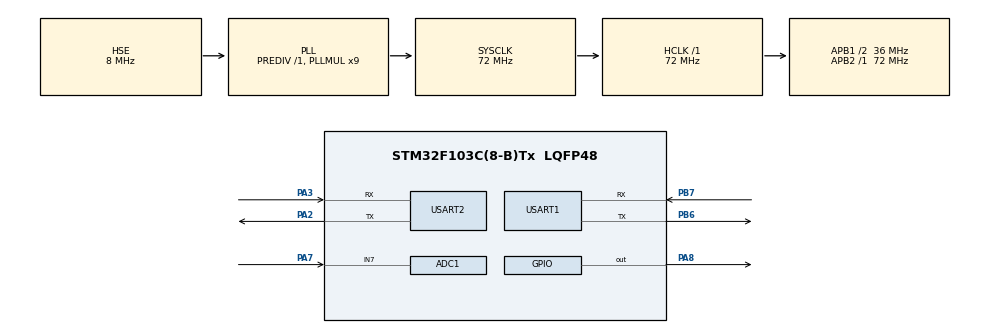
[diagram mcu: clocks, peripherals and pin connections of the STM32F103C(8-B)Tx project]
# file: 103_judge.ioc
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ADC1.Channel-0\#ChannelRegularConversion=ADC_CHANNEL_7
ADC1.NbrOfConversionFlag=1
ADC1.Rank-0\#ChannelRegularConversion=1
ADC1.SamplingTime-0\#ChannelRegularConversion=ADC_SAMPLETIME_1CYCLE_5
ADC1.master=1
Dma.Request0=USART1_RX
Dma.Request1=USART1_TX
Dma.Request2=USART2_RX
Dma.Request3=USART2_TX
Dma.USART1_RX.0.Direction=DMA_PERIPH_TO_MEMORY
Dma.USART1_RX.0.Instance=DMA1_Channel5
Dma.USART1_RX.0.MemDataAlignment=DMA_MDATAALIGN_BYTE
Dma.USART1_RX.0.MemInc=DMA_MINC_ENABLE
Dma.USART1_RX.0.Mode=DMA_NORMAL
Dma.USART1_RX.0.PeriphDataAlignment=DMA_PDATAALIGN_BYTE
Dma.USART1_RX.0.PeriphInc=DMA_PINC_DISABLE
Dma.USART1_RX.0.Priority=DMA_PRIORITY_MEDIUM
Dma.USART1_TX.1.Direction=DMA_MEMORY_TO_PERIPH
Dma.USART1_TX.1.Instance=DMA1_Channel4
Dma.USART1_TX.1.MemDataAlignment=DMA_MDATAALIGN_BYTE
Dma.USART1_TX.1.MemInc=DMA_MINC_ENABLE
Dma.USART1_TX.1.Mode=DMA_NORMAL
Dma.USART1_TX.1.PeriphDataAlignment=DMA_PDATAALIGN_BYTE
Dma.USART1_TX.1.PeriphInc=DMA_PINC_DISABLE
Dma.USART1_TX.1.Priority=DMA_PRIORITY_MEDIUM
Dma.USART2_RX.2.Direction=DMA_PERIPH_TO_MEMORY
Dma.USART2_RX.2.Instance=DMA1_Channel6
Dma.USART2_RX.2.MemDataAlignment=DMA_MDATAALIGN_BYTE
Dma.USART2_RX.2.MemInc=DMA_MINC_ENABLE
Dma.USART2_RX.2.Mode=DMA_NORMAL
Dma.USART2_RX.2.PeriphDataAlignment=DMA_PDATAALIGN_BYTE
Dma.USART2_RX.2.PeriphInc=DMA_PINC_DISABLE
Dma.USART2_RX.2.Priority=DMA_PRIORITY_LOW
Dma.USART2_TX.3.Direction=DMA_MEMORY_TO_PERIPH
Dma.USART2_TX.3.Instance=DMA1_Channel7
Dma.USART2_TX.3.MemDataAlignment=DMA_MDATAALIGN_BYTE
Dma.USART2_TX.3.MemInc=DMA_MINC_ENABLE
Dma.USART2_TX.3.Mode=DMA_NORMAL
Dma.USART2_TX.3.PeriphDataAlignment=DMA_PDATAALIGN_BYTE
Dma.USART2_TX.3.PeriphInc=DMA_PINC_DISABLE
Dma.USART2_TX.3.Priority=DMA_PRIORITY_LOW
Mcu.Family=STM32F1
Mcu.Name=STM32F103C(8-B)Tx
Mcu.Package=LQFP48
NVIC.DMA1_Channel4_IRQn=true\:0\:0\:false\:false\:true\:false
NVIC.DMA1_Channel5_IRQn=true\:0\:0\:false\:false\:true\:false
NVIC.DMA1_Channel6_IRQn=true\:0\:0\:false\:false\:true\:false
NVIC.DMA1_Channel7_IRQn=true\:0\:0\:false\:false\:true\:false
NVIC.PriorityGroup=NVIC_PRIORITYGROUP_4
NVIC.TIM2_IRQn=true\:0\:0\:false\:false\:true\:true
NVIC.USART1_IRQn=true\:0\:0\:false\:false\:true\:true
NVIC.USART2_IRQn=true\:0\:0\:false\:false\:true\:true
PA13.Mode=Serial_Wire
PA13.Signal=SYS_JTMS-SWDIO
PA14.Mode=Serial_Wire
PA14.Signal=SYS_JTCK-SWCLK
PA2.Mode=Asynchronous
PA2.Signal=USART2_TX
PA3.Mode=Asynchronous
PA3.Signal=USART2_RX
PA7.Signal=ADCx_IN7
PA8.GPIO_Speed=GPIO_SPEED_FREQ_HIGH
PA8.Signal=GPIO_Output
PB6.Mode=Asynchronous
PB6.Signal=USART1_TX
PB7.Mode=Asynchronous
PB7.Signal=USART1_RX
PD0-OSC_IN.Mode=HSE-External-Oscillator
PD0-OSC_IN.Signal=RCC_OSC_IN
PD1-OSC_OUT.Mode=HSE-External-Oscillator
PD1-OSC_OUT.Signal=RCC_OSC_OUT
ProjectManager.HeapSize=0x200
ProjectManager.StackSize=0x400
ProjectManager.TargetToolchain=MDK-ARM V5
RCC.AHBFreq_Value=72000000
RCC.APB1CLKDivider=RCC_HCLK_DIV2
RCC.APB1Freq_Value=36000000
RCC.APB1TimFreq_Value=72000000
RCC.APB2Freq_Value=72000000
RCC.APB2TimFreq_Value=72000000
RCC.HCLKFreq_Value=72000000
RCC.PLLMUL=RCC_PLL_MUL9
RCC.PLLSourceVirtual=RCC_PLLSOURCE_HSE
RCC.SYSCLKFreq_VALUE=72000000
RCC.SYSCLKSource=RCC_SYSCLKSOURCE_PLLCLK
RCC.USBFreq_Value=72000000
SH.ADCx_IN7.0=ADC1_IN7,IN7
TIM2.Period=1000-1
TIM2.Prescaler=7200-1
USART1.VirtualMode=VM_ASYNC
USART2.VirtualMode=VM_ASYNC
VP_TIM1_VS_ClockSourceINT.Mode=Internal
VP_TIM2_VS_ClockSourceINT.Mode=Internal
board=custom

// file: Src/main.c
/* USER CODE BEGIN Header */
/**
  ******************************************************************************
  * @file           : main.c
  * @brief          : Main program body
  ******************************************************************************
  ** This notice applies to any and all portions of this file
  * that are not between comment pairs USER CODE BEGIN and
  * USER CODE END. Other portions of this file, whether
  * inserted by the user or by software development tools
  * are owned by their respective copyright owners.
  *
  * COPYRIGHT(c) 2019 STMicroelectronics
  *
  * Redistribution and use in source and binary forms, with or without modification,
  * are permitted provided that the following conditions are met:
  *   1. Redistributions of source code must retain the above copyright notice,
  *      this list of conditions and the following disclaimer.
  *   2. Redistributions in binary form must reproduce the above copyright notice,
  *      this list of conditions and the following disclaimer in the documentation
  *      and/or other materials provided with the distribution.
  *   3. Neither the name of STMicroelectronics nor the names of its contributors
  *      may be used to endorse or promote products derived from this software
  *      without specific prior written permission.
  *
  * THIS SOFTWARE IS PROVIDED BY THE COPYRIGHT HOLDERS AND CONTRIBUTORS "AS IS"
  * AND ANY EXPRESS OR IMPLIED WARRANTIES, INCLUDING, BUT NOT LIMITED TO, THE
  * IMPLIED WARRANTIES OF MERCHANTABILITY AND FITNESS FOR A PARTICULAR PURPOSE ARE
  * DISCLAIMED. IN NO EVENT SHALL THE COPYRIGHT HOLDER OR CONTRIBUTORS BE LIABLE
  * FOR ANY DIRECT, INDIRECT, INCIDENTAL, SPECIAL, EXEMPLARY, OR CONSEQUENTIAL
  * DAMAGES (INCLUDING, BUT NOT LIMITED TO, PROCUREMENT OF SUBSTITUTE GOODS OR
  * SERVICES; LOSS OF USE, DATA, OR PROFITS; OR BUSINESS INTERRUPTION) HOWEVER
  * CAUSED AND ON ANY THEORY OF LIABILITY, WHETHER IN CONTRACT, STRICT LIABILITY,
  * OR TORT (INCLUDING NEGLIGENCE OR OTHERWISE) ARISING IN ANY WAY OUT OF THE USE
  * OF THIS SOFTWARE, EVEN IF ADVISED OF THE POSSIBILITY OF SUCH DAMAGE.
  *
  ******************************************************************************
  */
/* USER CODE END Header */

#include "main.h"
#include "adc.h"
#include "dma.h"
#include "tim.h"
#include "usart.h"
#include "gpio.h"

/* USER CODE BEGIN Includes */
#include "Driver_Judge.h"
/* USER CODE END Includes */

void SystemClock_Config(void);

/* USER CODE BEGIN 0 */
float Supercap = 0.0f;
float Supercap_percent = 0.0f;
/* USER CODE END 0 */

int main(void)
{
  /* USER CODE BEGIN 1 */
	uint16_t value;
  /* USER CODE END 1 */

  /* MCU Configuration--------------------------------------------------------*/

  /* Reset of all peripherals, Initializes the Flash interface and the Systick. */
  HAL_Init();

  /* Configure the system clock */
  SystemClock_Config();

  /* Initialize all configured peripherals */
  MX_GPIO_Init();
  MX_DMA_Init();
  MX_USART1_UART_Init();
  MX_TIM2_Init();
  MX_TIM1_Init();
  MX_USART2_UART_Init();
  MX_ADC1_Init();
  /* USER CODE BEGIN 2 */
	/*开启串口空闲中断*/
	HAL_TIM_Base_Start_IT(&htim2);
	__HAL_UART_ENABLE_IT(&huart2, UART_IT_IDLE);
	__HAL_UART_ENABLE_IT(&huart1, UART_IT_IDLE);
	/*启动串口DMA接收*/
	HAL_UART_Receive_DMA(&huart2,usart2_rx_buffer,BUFFER_SIZE);
	HAL_UART_Receive_DMA(&huart1,usart1_rx_buffer,BUFFER_SIZE);
	HAL_Delay(500);
	HAL_GPIO_WritePin(GPIOA, GPIO_PIN_8, GPIO_PIN_SET);//打开开关电容充电
  /* USER CODE END 2 */

  /* Infinite loop */
  while (1)
  {

    /* USER CODE BEGIN 3 */
		value = GetADC(ADC_CHANNEL_7);
	  Supercap=(float)value/(4096)*3.3;
	  Supercap=Supercap*11.11;//按比例算出电容电压真实值
		Supercap_percent = ((Supercap-8)/15.5f)*100.0f;
		if(usart2_recv_end_flag ==1)
			{
				usart2_rx_len=0;
				usart2_recv_end_flag=0;
				HAL_UART_Receive_DMA(&huart2,usart2_rx_buffer,BUFFER_SIZE);
			}

			if(usart1_recv_end_flag ==1)
			{
				usart1_rx_len=0;
				usart1_recv_end_flag=0;
				HAL_UART_Receive_DMA(&huart1,usart1_rx_buffer,BUFFER_SIZE);
			}
			HAL_Delay (1);
  }
  /* USER CODE END 3 */
}

void SystemClock_Config(void)
{
  RCC_OscInitTypeDef RCC_OscInitStruct = {0};
  RCC_ClkInitTypeDef RCC_ClkInitStruct = {0};
  RCC_PeriphCLKInitTypeDef PeriphClkInit = {0};

  /**Initializes the CPU, AHB and APB busses clocks
  */
  RCC_OscInitStruct.OscillatorType = RCC_OSCILLATORTYPE_HSE;
  RCC_OscInitStruct.HSEState = RCC_HSE_ON;
  RCC_OscInitStruct.HSEPredivValue = RCC_HSE_PREDIV_DIV1;
  RCC_OscInitStruct.HSIState = RCC_HSI_ON;
  RCC_OscInitStruct.PLL.PLLState = RCC_PLL_ON;
  RCC_OscInitStruct.PLL.PLLSource = RCC_PLLSOURCE_HSE;
  RCC_OscInitStruct.PLL.PLLMUL = RCC_PLL_MUL9;
  if (HAL_RCC_OscConfig(&RCC_OscInitStruct) != HAL_OK)
  {
    Error_Handler();
  }
  /**Initializes the CPU, AHB and APB busses clocks
  */
  RCC_ClkInitStruct.ClockType = RCC_CLOCKTYPE_HCLK|RCC_CLOCKTYPE_SYSCLK
                              |RCC_CLOCKTYPE_PCLK1|RCC_CLOCKTYPE_PCLK2;
  RCC_ClkInitStruct.SYSCLKSource = RCC_SYSCLKSOURCE_PLLCLK;
  RCC_ClkInitStruct.AHBCLKDivider = RCC_SYSCLK_DIV1;
  RCC_ClkInitStruct.APB1CLKDivider = RCC_HCLK_DIV2;
  RCC_ClkInitStruct.APB2CLKDivider = RCC_HCLK_DIV1;

  if (HAL_RCC_ClockConfig(&RCC_ClkInitStruct, FLASH_LATENCY_2) != HAL_OK)
  {
    Error_Handler();
  }
  PeriphClkInit.PeriphClockSelection = RCC_PERIPHCLK_ADC;
  PeriphClkInit.AdcClockSelection = RCC_ADCPCLK2_DIV2;
  if (HAL_RCCEx_PeriphCLKConfig(&PeriphClkInit) != HAL_OK)
  {
    Error_Handler();
  }
}

/* USER CODE BEGIN 4 */
int fputc(int ch, FILE *f)
{
	HAL_UART_Transmit(&huart1, (uint8_t *)&ch, 1, 10);
	return ch;
}

void Float_to_Byte(float *target,unsigned char *buf,unsigned char beg)
{
    unsigned char *point;
    point = (unsigned char*)target;
    buf[beg]   = point[0];
    buf[beg+1] = point[1];
    buf[beg+2] = point[2];
    buf[beg+3] = point[3];
}

void HAL_TIM_PeriodElapsedCallback(TIM_HandleTypeDef *htim)
{
	if (htim->Instance == htim2.Instance)
	{
		HAL_UART_Transmit_DMA(&huart2,usart2_tx_buffer,28);
  }
}
/* USER CODE END 4 */

void Error_Handler(void)
{
}

/************************ (C) COPYRIGHT STMicroelectronics *****END OF FILE****/
